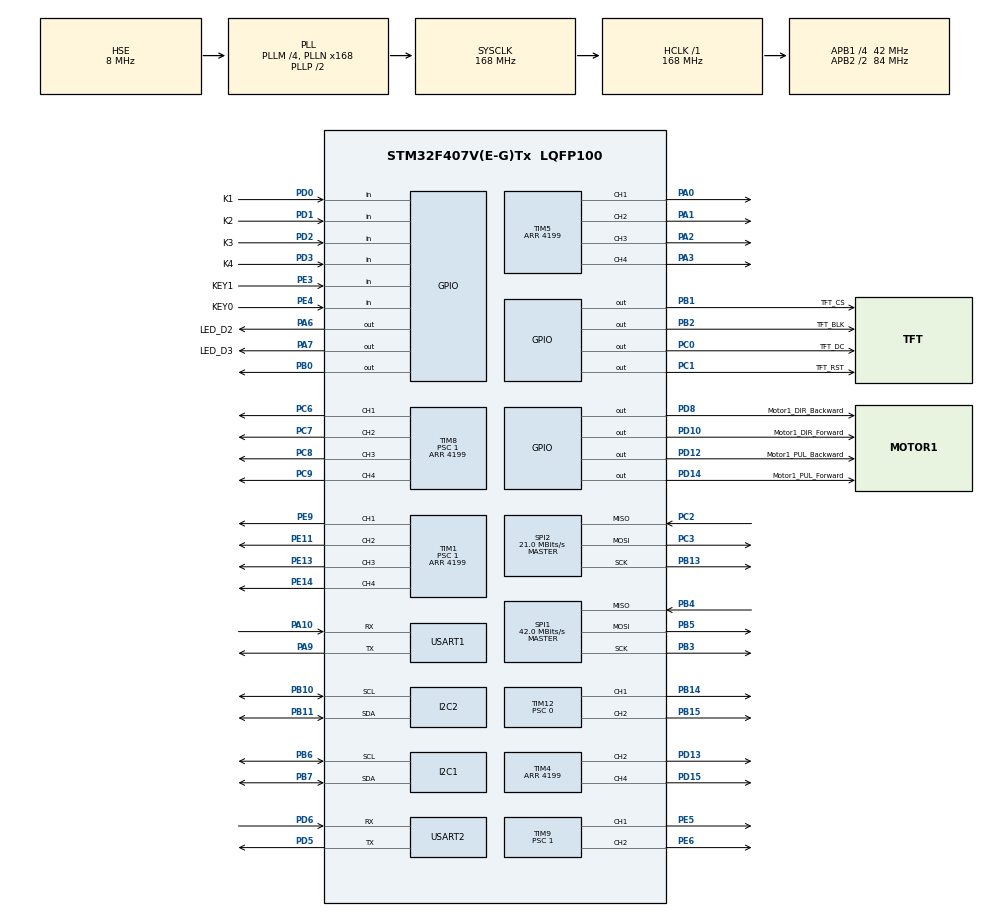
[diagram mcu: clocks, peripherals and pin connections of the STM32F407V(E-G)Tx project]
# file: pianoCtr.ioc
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Dma.Request0=USART2_RX
Dma.Request1=USART2_TX
Dma.USART2_RX.0.Direction=DMA_PERIPH_TO_MEMORY
Dma.USART2_RX.0.FIFOMode=DMA_FIFOMODE_DISABLE
Dma.USART2_RX.0.Instance=DMA1_Stream5
Dma.USART2_RX.0.MemDataAlignment=DMA_MDATAALIGN_BYTE
Dma.USART2_RX.0.MemInc=DMA_MINC_ENABLE
Dma.USART2_RX.0.Mode=DMA_NORMAL
Dma.USART2_RX.0.PeriphDataAlignment=DMA_PDATAALIGN_BYTE
Dma.USART2_RX.0.PeriphInc=DMA_PINC_DISABLE
Dma.USART2_RX.0.Priority=DMA_PRIORITY_MEDIUM
Dma.USART2_TX.1.Direction=DMA_MEMORY_TO_PERIPH
Dma.USART2_TX.1.FIFOMode=DMA_FIFOMODE_DISABLE
Dma.USART2_TX.1.Instance=DMA1_Stream6
Dma.USART2_TX.1.MemDataAlignment=DMA_MDATAALIGN_BYTE
Dma.USART2_TX.1.MemInc=DMA_MINC_ENABLE
Dma.USART2_TX.1.Mode=DMA_NORMAL
Dma.USART2_TX.1.PeriphDataAlignment=DMA_PDATAALIGN_BYTE
Dma.USART2_TX.1.PeriphInc=DMA_PINC_DISABLE
Dma.USART2_TX.1.Priority=DMA_PRIORITY_MEDIUM
Mcu.Family=STM32F4
Mcu.Name=STM32F407V(E-G)Tx
Mcu.Package=LQFP100
NVIC.DMA1_Stream5_IRQn=true\:5\:0\:true\:false\:true\:false\:true\:true
NVIC.DMA1_Stream6_IRQn=true\:5\:0\:true\:false\:true\:false\:true\:true
NVIC.PriorityGroup=NVIC_PRIORITYGROUP_4
NVIC.TIM6_DAC_IRQn=true\:15\:0\:false\:false\:true\:false\:true\:true
NVIC.TIM7_IRQn=true\:6\:0\:true\:false\:true\:true\:true\:true
NVIC.TimeBase=TIM6_DAC_IRQn
NVIC.TimeBaseIP=TIM6
NVIC.USART1_IRQn=true\:9\:0\:true\:false\:true\:true\:true\:true
NVIC.USART2_IRQn=true\:7\:0\:true\:false\:true\:true\:true\:true
PA0-WKUP.Signal=S_TIM5_CH1
PA1.Signal=S_TIM5_CH2
PA10.Mode=Asynchronous
PA10.Signal=USART1_RX
PA13.Mode=Serial_Wire
PA13.Signal=SYS_JTMS-SWDIO
PA14.Mode=Serial_Wire
PA14.Signal=SYS_JTCK-SWCLK
PA2.Signal=S_TIM5_CH3
PA3.Signal=S_TIM5_CH4
PA6.GPIO_Label=LED_D2
PA6.Signal=GPIO_Output
PA7.GPIO_Label=LED_D3
PA7.Signal=GPIO_Output
PA9.Mode=Asynchronous
PA9.Signal=USART1_TX
PB0.Signal=GPIO_Output
PB1.GPIO_Label=TFT_CS
PB1.GPIO_Speed=GPIO_SPEED_FREQ_LOW
PB1.PinState=GPIO_PIN_SET
PB1.Signal=GPIO_Output
PB10.Mode=I2C
PB10.Signal=I2C2_SCL
PB11.Mode=I2C
PB11.Signal=I2C2_SDA
PB13.Mode=Full_Duplex_Master
PB13.Signal=SPI2_SCK
PB14.Signal=S_TIM12_CH1
PB15.Signal=S_TIM12_CH2
PB2.GPIO_Label=TFT_BLK
PB2.PinState=GPIO_PIN_SET
PB2.Signal=GPIO_Output
PB3.Mode=Full_Duplex_Master
PB3.Signal=SPI1_SCK
PB4.Mode=Full_Duplex_Master
PB4.Signal=SPI1_MISO
PB5.Mode=Full_Duplex_Master
PB5.Signal=SPI1_MOSI
PB6.Mode=I2C
PB6.Signal=I2C1_SCL
PB7.Mode=I2C
PB7.Signal=I2C1_SDA
PC0.GPIO_Label=TFT_DC
PC0.Signal=GPIO_Output
PC1.GPIO_Label=TFT_RST
PC1.Signal=GPIO_Output
PC2.Mode=Full_Duplex_Master
PC2.Signal=SPI2_MISO
PC3.Mode=Full_Duplex_Master
PC3.Signal=SPI2_MOSI
PC6.Signal=S_TIM8_CH1
PC7.Signal=S_TIM8_CH2
PC8.Signal=S_TIM8_CH3
PC9.Signal=S_TIM8_CH4
PD0.GPIO_Label=K1
PD0.GPIO_PuPd=GPIO_PULLUP
PD0.Signal=GPIO_Input
PD1.GPIO_Label=K2
PD1.GPIO_PuPd=GPIO_PULLUP
PD1.Signal=GPIO_Input
PD10.GPIO_Label=Motor1_DIR_Forward
PD10.GPIO_Speed=GPIO_SPEED_FREQ_HIGH
PD10.Signal=GPIO_Output
PD12.GPIO_Label=Motor1_PUL_Backward
PD12.GPIO_Speed=GPIO_SPEED_FREQ_HIGH
PD12.Signal=GPIO_Output
PD13.Signal=S_TIM4_CH2
PD14.GPIO_Label=Motor1_PUL_Forward
PD14.GPIO_Speed=GPIO_SPEED_FREQ_HIGH
PD14.Signal=GPIO_Output
PD15.Signal=S_TIM4_CH4
PD2.GPIO_Label=K3
PD2.GPIO_PuPd=GPIO_PULLUP
PD2.Signal=GPIO_Input
PD3.GPIO_Label=K4
PD3.GPIO_PuPd=GPIO_PULLUP
PD3.Signal=GPIO_Input
PD5.Mode=Asynchronous
PD5.Signal=USART2_TX
PD6.Mode=Asynchronous
PD6.Signal=USART2_RX
PD8.GPIO_Label=Motor1_DIR_Backward
PD8.GPIO_Speed=GPIO_SPEED_FREQ_HIGH
PD8.Signal=GPIO_Output
PE11.Signal=S_TIM1_CH2
PE13.Signal=S_TIM1_CH3
PE14.Signal=S_TIM1_CH4
PE3.GPIO_Label=KEY1
PE3.GPIO_PuPd=GPIO_PULLUP
PE3.Signal=GPIO_Input
PE4.GPIO_Label=KEY0
PE4.GPIO_PuPd=GPIO_PULLUP
PE4.Signal=GPIO_Input
PE5.Signal=S_TIM9_CH1
PE6.Signal=S_TIM9_CH2
PE9.Signal=S_TIM1_CH1
PH0-OSC_IN.Mode=HSE-External-Oscillator
PH0-OSC_IN.Signal=RCC_OSC_IN
PH1-OSC_OUT.Mode=HSE-External-Oscillator
PH1-OSC_OUT.Signal=RCC_OSC_OUT
ProjectManager.HeapSize=0x400
ProjectManager.StackSize=0x1000
ProjectManager.TargetToolchain=MDK-ARM V5.32
RCC.48MHZClocksFreq_Value=84000000
RCC.AHBFreq_Value=168000000
RCC.APB1CLKDivider=RCC_HCLK_DIV4
RCC.APB1Freq_Value=42000000
RCC.APB1TimFreq_Value=84000000
RCC.APB2CLKDivider=RCC_HCLK_DIV2
RCC.APB2Freq_Value=84000000
RCC.APB2TimFreq_Value=168000000
RCC.CortexFreq_Value=168000000
RCC.HCLKFreq_Value=168000000
RCC.HSE_VALUE=8000000
RCC.HSI_VALUE=16000000
RCC.LSE_VALUE=32768
RCC.PLLM=4
RCC.PLLN=168
RCC.PLLSourceVirtual=RCC_PLLSOURCE_HSE
RCC.SYSCLKFreq_VALUE=168000000
RCC.SYSCLKSource=RCC_SYSCLKSOURCE_PLLCLK
RCC.VCOOutputFreq_Value=336000000
SH.S_TIM12_CH1.0=TIM12_CH1,PWM Generation1 CH1
SH.S_TIM12_CH2.0=TIM12_CH2,PWM Generation2 CH2
SH.S_TIM1_CH1.0=TIM1_CH1,PWM Generation1 CH1
SH.S_TIM1_CH2.0=TIM1_CH2,PWM Generation2 CH2
SH.S_TIM1_CH3.0=TIM1_CH3,PWM Generation3 CH3
SH.S_TIM1_CH4.0=TIM1_CH4,PWM Generation4 CH4
SH.S_TIM4_CH2.0=TIM4_CH2,PWM Generation2 CH2
SH.S_TIM4_CH4.0=TIM4_CH4,PWM Generation4 CH4
SH.S_TIM5_CH1.0=TIM5_CH1,PWM Generation1 CH1
SH.S_TIM5_CH2.0=TIM5_CH2,PWM Generation2 CH2
SH.S_TIM5_CH3.0=TIM5_CH3,PWM Generation3 CH3
SH.S_TIM5_CH4.0=TIM5_CH4,PWM Generation4 CH4
SH.S_TIM8_CH1.0=TIM8_CH1,PWM Generation1 CH1
SH.S_TIM8_CH2.0=TIM8_CH2,PWM Generation2 CH2
SH.S_TIM8_CH3.0=TIM8_CH3,PWM Generation3 CH3
SH.S_TIM8_CH4.0=TIM8_CH4,PWM Generation4 CH4
SH.S_TIM9_CH1.0=TIM9_CH1,PWM Generation1 CH1
SH.S_TIM9_CH2.0=TIM9_CH2,PWM Generation2 CH2
SPI1.CalculateBaudRate=42.0 MBits/s
SPI1.Direction=SPI_DIRECTION_2LINES
SPI1.Mode=SPI_MODE_MASTER
SPI1.VirtualType=VM_MASTER
SPI2.CalculateBaudRate=21.0 MBits/s
SPI2.Direction=SPI_DIRECTION_2LINES
SPI2.Mode=SPI_MODE_MASTER
SPI2.VirtualType=VM_MASTER
TIM1.AutomaticOutput=TIM_AUTOMATICOUTPUT_ENABLE
TIM1.Channel-PWM\ Generation1\ CH1=TIM_CHANNEL_1
TIM1.Channel-PWM\ Generation2\ CH2=TIM_CHANNEL_2
TIM1.Channel-PWM\ Generation3\ CH3=TIM_CHANNEL_3
TIM1.Channel-PWM\ Generation4\ CH4=TIM_CHANNEL_4
TIM1.Period=4199
TIM1.Prescaler=1
TIM1.TIM_MasterOutputTrigger=TIM_TRGO_UPDATE
TIM12.Channel-PWM\ Generation1\ CH1=TIM_CHANNEL_1
TIM12.Channel-PWM\ Generation2\ CH2=TIM_CHANNEL_2
TIM12.Period=4199
TIM12.Prescaler=0
TIM3.Period=4199
TIM3.Prescaler=0
TIM4.Channel-PWM\ Generation2\ CH2=TIM_CHANNEL_2
TIM4.Channel-PWM\ Generation4\ CH4=TIM_CHANNEL_4
TIM4.Period=4199
TIM5.Channel-PWM\ Generation1\ CH1=TIM_CHANNEL_1
TIM5.Channel-PWM\ Generation2\ CH2=TIM_CHANNEL_2
TIM5.Channel-PWM\ Generation3\ CH3=TIM_CHANNEL_3
TIM5.Channel-PWM\ Generation4\ CH4=TIM_CHANNEL_4
TIM5.Period=4199
TIM7.Period=199
TIM7.Prescaler=5
TIM8.AutomaticOutput=TIM_AUTOMATICOUTPUT_ENABLE
TIM8.Channel-PWM\ Generation1\ CH1=TIM_CHANNEL_1
TIM8.Channel-PWM\ Generation2\ CH2=TIM_CHANNEL_2
TIM8.Channel-PWM\ Generation3\ CH3=TIM_CHANNEL_3
TIM8.Channel-PWM\ Generation4\ CH4=TIM_CHANNEL_4
TIM8.Period=4199
TIM8.Prescaler=1
TIM9.Channel-PWM\ Generation1\ CH1=TIM_CHANNEL_1
TIM9.Channel-PWM\ Generation2\ CH2=TIM_CHANNEL_2
TIM9.Period=4199
TIM9.Prescaler=1
USART1.VirtualMode=VM_ASYNC
USART2.VirtualMode=VM_ASYNC
VP_SYS_VS_tim6.Mode=TIM6
VP_TIM1_VS_ClockSourceINT.Mode=Internal
VP_TIM3_VS_ClockSourceINT.Mode=Internal
VP_TIM7_VS_ClockSourceINT.Mode=Enable_Timer
board=custom

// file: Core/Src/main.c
/* USER CODE BEGIN Header */
/**
 ******************************************************************************
 * @file           : main.c
 * @brief          : Main program body
 ******************************************************************************
 * @attention
 *
 * Copyright (c) 2024 STMicroelectronics.
 * All rights reserved.
 *
 * This software is licensed under terms that can be found in the LICENSE file
 * in the root directory of this software component.
 * If no LICENSE file comes with this software, it is provided AS-IS.
 *
 ******************************************************************************
 */
/* USER CODE END Header */
#include "main.h"
#include "dma.h"
#include "i2c.h"
#include "spi.h"
#include "tim.h"
#include "usart.h"
#include "gpio.h"

/* USER CODE BEGIN Includes */
#include "MCU_BSP.h"
#include "PCA9685.h"
#include "TASK.h"
#include "app_piano.h"
#include "oled.h"
#include "stepper_motor.h"
#include "Flash.h"
#include "ST7735.h"
#include "Key.h"
/* USER CODE END Includes */

/* USER CODE BEGIN PD */
extern uint8_t midi_Buff[RX_MIDI_LEN];
extern uint8_t flag_data;
extern  MidiFileHeader midiHeader;
//extern uint8_t rxIndex ;
/* USER CODE END PD */

void SystemClock_Config(void);

/* USER CODE BEGIN 0 */
void PrintToUART(const char *str)
{
    HAL_UART_Transmit(&huart1, (uint8_t *)str, strlen(str), HAL_MAX_DELAY);
}
/* USER CODE END 0 */

int main(void)
{

  /* USER CODE BEGIN 1 */
    //uint8_t flag = 0;
		flag_data = 0;
		//uint32_t flashAddress;
		/* USER CODE END 1 */

		/* MCU Configuration--------------------------------------------------------*/

		/* Reset of all peripherals, Initializes the Flash interface and the Systick. */
		HAL_Init();

		/* Configure the system clock */
		SystemClock_Config();

		/* Initialize all configured peripherals */
		MX_GPIO_Init();
		MX_DMA_Init();
		MX_USART1_UART_Init();
		MX_USART2_UART_Init();
		MX_TIM3_Init();
		MX_TIM7_Init();
		MX_TIM1_Init();
		MX_TIM4_Init();
		MX_TIM5_Init();
		MX_TIM8_Init();
		MX_TIM9_Init();
		MX_TIM12_Init();
		MX_I2C1_Init();
		MX_I2C2_Init();
		MX_SPI1_Init();
		MX_SPI2_Init();
		/* USER CODE BEGIN 2 */

    MCU_InternalPeripheral_Init();
    PCA9685_Init();
    LED_Init();
    PianoPlayInit();
		ST7735_Init();

  /* USER CODE END 2 */
  /* Infinite loop */
  /* USER CODE BEGIN WHILE */
		//ST7735_DrawString(0, 0, "CSDN666", ST7735_BLUE, ST7735_BLACK, &Font_7x10);
		//ST7735_DrawString(10, 50, "Playing:111",ST7735_WHITE,ST7735_BLACK, &Font_7x10);
		LoadFileHeaders();    // 加载文件头信息
    FileSelect_Menu();    // 进入文件选择菜单

    while (1)
    {
    /* USER CODE END WHILE */

    }
}

void SystemClock_Config(void)
{
  RCC_OscInitTypeDef RCC_OscInitStruct = {0};
  RCC_ClkInitTypeDef RCC_ClkInitStruct = {0};

  /** Configure the main internal regulator output voltage
  */
  __HAL_RCC_PWR_CLK_ENABLE();
  __HAL_PWR_VOLTAGESCALING_CONFIG(PWR_REGULATOR_VOLTAGE_SCALE1);

  /** Initializes the RCC Oscillators according to the specified parameters
  * in the RCC_OscInitTypeDef structure.
  */
  RCC_OscInitStruct.OscillatorType = RCC_OSCILLATORTYPE_HSE;
  RCC_OscInitStruct.HSEState = RCC_HSE_ON;
  RCC_OscInitStruct.PLL.PLLState = RCC_PLL_ON;
  RCC_OscInitStruct.PLL.PLLSource = RCC_PLLSOURCE_HSE;
  RCC_OscInitStruct.PLL.PLLM = 4;
  RCC_OscInitStruct.PLL.PLLN = 168;
  RCC_OscInitStruct.PLL.PLLP = RCC_PLLP_DIV2;
  RCC_OscInitStruct.PLL.PLLQ = 4;
  if (HAL_RCC_OscConfig(&RCC_OscInitStruct) != HAL_OK)
  {
    Error_Handler();
  }

  /** Initializes the CPU, AHB and APB buses clocks
  */
  RCC_ClkInitStruct.ClockType = RCC_CLOCKTYPE_HCLK|RCC_CLOCKTYPE_SYSCLK
                              |RCC_CLOCKTYPE_PCLK1|RCC_CLOCKTYPE_PCLK2;
  RCC_ClkInitStruct.SYSCLKSource = RCC_SYSCLKSOURCE_PLLCLK;
  RCC_ClkInitStruct.AHBCLKDivider = RCC_SYSCLK_DIV1;
  RCC_ClkInitStruct.APB1CLKDivider = RCC_HCLK_DIV4;
  RCC_ClkInitStruct.APB2CLKDivider = RCC_HCLK_DIV2;

  if (HAL_RCC_ClockConfig(&RCC_ClkInitStruct, FLASH_LATENCY_5) != HAL_OK)
  {
    Error_Handler();
  }
}

void HAL_TIM_PeriodElapsedCallback(TIM_HandleTypeDef *htim)
{
  if (htim->Instance == TIM6) {
    HAL_IncTick();
  }
}

void Error_Handler(void)
{
    __disable_irq();
    while (1)
    {
    }
}
